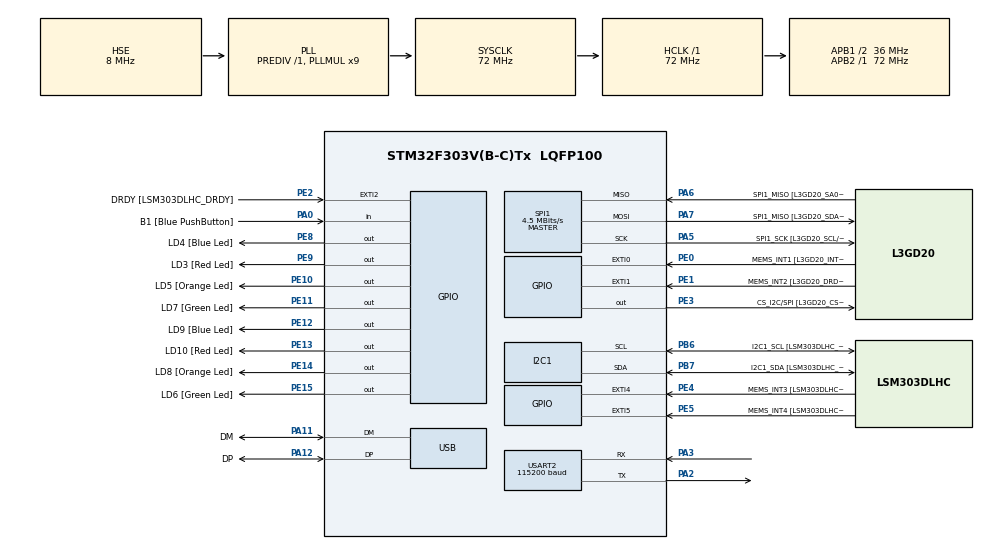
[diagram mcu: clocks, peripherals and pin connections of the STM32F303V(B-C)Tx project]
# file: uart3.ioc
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I2C1.Timing-I2C=0x2000090E
Mcu.Family=STM32F3
Mcu.Name=STM32F303V(B-C)Tx
Mcu.Package=LQFP100
NVIC.PriorityGroup=NVIC_PRIORITYGROUP_0
PA0.GPIO_Label=B1 [Blue PushButton]
PA0.Signal=GPIO_Input
PA11.GPIO_Label=DM
PA11.Mode=Device
PA11.Signal=USB_DM
PA12.GPIO_Label=DP
PA12.Mode=Device
PA12.Signal=USB_DP
PA13.GPIO_Label=SWDIO
PA13.Mode=Serial_Wire
PA13.Signal=SYS_JTMS-SWDIO
PA14.GPIO_Label=SWCLK
PA14.Mode=Serial_Wire
PA14.Signal=SYS_JTCK-SWCLK
PA2.Mode=Asynchronous
PA2.Signal=USART2_TX
PA3.Mode=Asynchronous
PA3.Signal=USART2_RX
PA5.GPIO_Label=SPI1_SCK [L3GD20_SCL/SPC]
PA5.Mode=Full_Duplex_Master
PA5.Signal=SPI1_SCK
PA6.GPIO_Label=SPI1_MISO [L3GD20_SA0/SDO]
PA6.Mode=Full_Duplex_Master
PA6.Signal=SPI1_MISO
PA7.GPIO_Label=SPI1_MISO [L3GD20_SDA/SDI/SDO]
PA7.Mode=Full_Duplex_Master
PA7.Signal=SPI1_MOSI
PB3.GPIO_Label=SWO
PB3.Signal=SYS_JTDO-TRACESWO
PB6.GPIO_Label=I2C1_SCL [LSM303DLHC_SCL]
PB6.GPIO_Pu=GPIO_PULLUP
PB6.Mode=I2C
PB6.Signal=I2C1_SCL
PB7.GPIO_Label=I2C1_SDA [LSM303DLHC_SDA]
PB7.GPIO_Pu=GPIO_PULLUP
PB7.Mode=I2C
PB7.Signal=I2C1_SDA
PC14-OSC32_IN.GPIO_Label=OSC32_IN
PC14-OSC32_IN.Signal=RCC_OSC32_IN
PC15-OSC32_OUT.GPIO_Label=OSC32_OUT
PC15-OSC32_OUT.Signal=RCC_OSC32_OUT
PE0.GPIO_Label=MEMS_INT1 [L3GD20_INT1]
PE0.GPIO_ModeDefaultEXTI=GPIO_MODE_EVT_RISING
PE0.Signal=GPXTI0
PE1.GPIO_Label=MEMS_INT2 [L3GD20_DRDY/INT2]
PE1.GPIO_ModeDefaultEXTI=GPIO_MODE_EVT_RISING
PE1.Signal=GPXTI1
PE10.GPIO_Label=LD5 [Orange Led]
PE10.Signal=GPIO_Output
PE11.GPIO_Label=LD7 [Green Led]
PE11.Signal=GPIO_Output
PE12.GPIO_Label=LD9 [Blue Led]
PE12.Signal=GPIO_Output
PE13.GPIO_Label=LD10 [Red Led]
PE13.Signal=GPIO_Output
PE14.GPIO_Label=LD8 [Orange Led]
PE14.Signal=GPIO_Output
PE15.GPIO_Label=LD6 [Green Led]
PE15.Signal=GPIO_Output
PE2.GPIO_Label=DRDY [LSM303DLHC_DRDY]
PE2.GPIO_ModeDefaultEXTI=GPIO_MODE_EVT_RISING
PE2.Signal=GPXTI2
PE3.GPIO_Label=CS_I2C/SPI [L3GD20_CS_I2C/SPI]
PE3.Signal=GPIO_Output
PE4.GPIO_Label=MEMS_INT3 [LSM303DLHC_INT1]
PE4.GPIO_ModeDefaultEXTI=GPIO_MODE_EVT_RISING
PE4.Signal=GPXTI4
PE5.GPIO_Label=MEMS_INT4 [LSM303DLHC_INT2]
PE5.GPIO_ModeDefaultEXTI=GPIO_MODE_EVT_RISING
PE5.Signal=GPXTI5
PE8.GPIO_Label=LD4 [Blue Led]
PE8.Signal=GPIO_Output
PE9.GPIO_Label=LD3 [Red Led]
PE9.Signal=GPIO_Output
PF0-OSC_IN.GPIO_Label=OSC_IN
PF0-OSC_IN.Mode=HSE-External-Oscillator
PF0-OSC_IN.Signal=RCC_OSC_IN
PF1-OSC_OUT.GPIO_Label=OSC_OUT
PF1-OSC_OUT.Mode=HSE-External-Oscillator
PF1-OSC_OUT.Signal=RCC_OSC_OUT
ProjectManager.HeapSize=0x200
ProjectManager.StackSize=0x400
ProjectManager.TargetToolchain=STM32CubeIDE
RCC.AHBFreq_Value=72000000
RCC.APB1CLKDivider=RCC_HCLK_DIV2
RCC.APB1Freq_Value=36000000
RCC.APB1TimFreq_Value=72000000
RCC.APB2Freq_Value=72000000
RCC.APB2TimFreq_Value=72000000
RCC.CortexFreq_Value=72000000
RCC.HCLKFreq_Value=72000000
RCC.HSE_VALUE=8000000
RCC.HSI_VALUE=8000000
RCC.LSE_VALUE=32768
RCC.PLLMUL=RCC_PLL_MUL9
RCC.PRESCALERUSB=RCC_USBCLKSOURCE_PLL_DIV1_5
RCC.SYSCLKFreq_VALUE=72000000
RCC.SYSCLKSourceVirtual=RCC_SYSCLKSOURCE_PLLCLK
RCC.USBFreq_Value=48000000
SPI1.BaudRatePrescaler=SPI_BAUDRATEPRESCALER_16
SPI1.BaudRatePrescaler-Full_Duplex_Master=SPI_BAUDRATEPRESCALER_2
SPI1.CalculateBaudRate=4.5 MBits/s
SPI1.CalculateBaudRate-Full_Duplex_Master=24.0 MBits/s
SPI1.DataSize=SPI_DATASIZE_8BIT
SPI1.Direction=SPI_DIRECTION_2LINES
SPI1.Mode=SPI_MODE_MASTER
SPI1.Mode-Full_Duplex_Master=SPI_MODE_MASTER
SPI1.VirtualType=VM_MASTER
USART2.BaudRate=115200
USART2.VirtualMode-Asynchronous=VM_ASYNC
board=STM32F3DISCOVERY

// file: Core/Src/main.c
/* USER CODE BEGIN Header */
/**
  ******************************************************************************
  * @file           : main.c
  * @brief          : Main program body
  ******************************************************************************
  * @attention
  *
  * Copyright (c) 2023 STMicroelectronics.
  * All rights reserved.
  *
  * This software is licensed under terms that can be found in the LICENSE file
  * in the root directory of this software component.
  * If no LICENSE file comes with this software, it is provided AS-IS.
  *
  ******************************************************************************
  */
/* USER CODE END Header */
#include "main.h"
#include "mems.h"
#include "stdio.h"
#include "string.h"

I2C_HandleTypeDef hi2c1;

SPI_HandleTypeDef hspi1;

UART_HandleTypeDef huart2;

PCD_HandleTypeDef hpcd_USB_FS;

/* USER CODE BEGIN PV */
//char str1[60] = {0};
int16_t AccelData[3];
int16_t MagData[3];
int16_t GyrData[3];
char str1[60]={0};

/* USER CODE END PV */

void SystemClock_Config(void);
static void MX_GPIO_Init(void);
static void MX_I2C1_Init(void);
static void MX_SPI1_Init(void);
static void MX_USART2_UART_Init(void);
static void MX_USB_PCD_Init(void);

int main(void)
{

  /* MCU Configuration--------------------------------------------------------*/

  /* Reset of all peripherals, Initializes the Flash interface and the Systick. */
  HAL_Init();

  /* Configure the system clock */
  SystemClock_Config();

  /* Initialize all configured peripherals */
  MX_GPIO_Init();
  MX_I2C1_Init();
  MX_SPI1_Init();
  MX_USART2_UART_Init();
  MX_USB_PCD_Init();
  /* USER CODE BEGIN 2 */

  Accel_Ini();
  Mag_Ini();
  Gyro_Ini();

  if (Gyro_ReadID()==0xD4)
  {
      HAL_GPIO_WritePin(GPIOE, GPIO_PIN_11, GPIO_PIN_SET);//green
  }
  else
  {
      HAL_GPIO_WritePin(GPIOE, GPIO_PIN_9, GPIO_PIN_SET);//red
  }

  /* USER CODE END 2 */

  /* Infinite loop */
  /* USER CODE BEGIN WHILE */

  //int i = 0;

  while (1)
  {
    /* USER CODE END WHILE */

    /* USER CODE BEGIN 3 */
    /*  HAL_GPIO_WritePin(GPIOE, GPIO_PIN_11, GPIO_PIN_SET); //green
      HAL_GPIO_WritePin(GPIOE, GPIO_PIN_14, GPIO_PIN_RESET); //orange
      HAL_Delay(500);
      HAL_GPIO_WritePin(GPIOE, GPIO_PIN_12, GPIO_PIN_RESET);
      HAL_GPIO_WritePin(GPIOE, GPIO_PIN_14, GPIO_PIN_SET);
      HAL_Delay(500);

      uint8_t Test[] = "Hello World !!!\r\n"; //Data to send
      HAL_UART_Transmit(&huart2,Test,sizeof(Test),10);// Sending in normal mode
      HAL_Delay(1000);

     */
    Accel_GetXYZ(AccelData);
    Mag_GetXYZ(MagData);
    Gyro_GetXYZ(GyrData);

    /*if (i % 1000 == 0)
    {
        //HAL_GPIO_WritePin(GPIOE, GPIO_PIN_14, GPIO_PIN_SET);
        HAL_GPIO_TogglePin(GPIOE, GPIO_PIN_14 );
    }

    i++;*/

    //HAL_GPIO_WritePin(GPIOE, GPIO_PIN_11, GPIO_PIN_SET);//green

     sprintf(str1,"$%06d %06d %06d;\n", AccelData[0], AccelData[1], AccelData[2]);
     //sprintf(str1,"$%06d;\n", AccelData[0]);
             //MagData[0], MagData[1], MagData[2], GyrData[0], GyrData[1], GyrData[2]);
     HAL_UART_Transmit(&huart2, (uint8_t*)str1, strlen(str1), 0x1000);

     //HAL_GPIO_WritePin(GPIOE, GPIO_PIN_11, GPIO_PIN_RESET);//green

     //HAL_GPIO_WritePin(GPIOE, GPIO_PIN_14, GPIO_PIN_SET);//orange
     HAL_Delay(5); //100 times per sec
     //HAL_GPIO_WritePin(GPIOE, GPIO_PIN_14, GPIO_PIN_RESET);//orange

     //uint8_t Test[] = "Hello World !!!\r\n"; //Data to send
     //HAL_UART_Transmit(&huart2,Test,sizeof(Test),10);// Sending in normal mode
     //HAL_Delay(1000);
  }
  /* USER CODE END 3 */
}

void SystemClock_Config(void)
{
  RCC_OscInitTypeDef RCC_OscInitStruct = {0};
  RCC_ClkInitTypeDef RCC_ClkInitStruct = {0};
  RCC_PeriphCLKInitTypeDef PeriphClkInit = {0};

  /** Initializes the RCC Oscillators according to the specified parameters
  * in the RCC_OscInitTypeDef structure.
  */
  RCC_OscInitStruct.OscillatorType = RCC_OSCILLATORTYPE_HSI|RCC_OSCILLATORTYPE_HSE;
  RCC_OscInitStruct.HSEState = RCC_HSE_ON;
  RCC_OscInitStruct.HSEPredivValue = RCC_HSE_PREDIV_DIV1;
  RCC_OscInitStruct.HSIState = RCC_HSI_ON;
  RCC_OscInitStruct.HSICalibrationValue = RCC_HSICALIBRATION_DEFAULT;
  RCC_OscInitStruct.PLL.PLLState = RCC_PLL_ON;
  RCC_OscInitStruct.PLL.PLLSource = RCC_PLLSOURCE_HSE;
  RCC_OscInitStruct.PLL.PLLMUL = RCC_PLL_MUL9;
  if (HAL_RCC_OscConfig(&RCC_OscInitStruct) != HAL_OK)
  {
    Error_Handler();
  }

  /** Initializes the CPU, AHB and APB buses clocks
  */
  RCC_ClkInitStruct.ClockType = RCC_CLOCKTYPE_HCLK|RCC_CLOCKTYPE_SYSCLK
                              |RCC_CLOCKTYPE_PCLK1|RCC_CLOCKTYPE_PCLK2;
  RCC_ClkInitStruct.SYSCLKSource = RCC_SYSCLKSOURCE_PLLCLK;
  RCC_ClkInitStruct.AHBCLKDivider = RCC_SYSCLK_DIV1;
  RCC_ClkInitStruct.APB1CLKDivider = RCC_HCLK_DIV2;
  RCC_ClkInitStruct.APB2CLKDivider = RCC_HCLK_DIV1;

  if (HAL_RCC_ClockConfig(&RCC_ClkInitStruct, FLASH_LATENCY_2) != HAL_OK)
  {
    Error_Handler();
  }
  PeriphClkInit.PeriphClockSelection = RCC_PERIPHCLK_USB|RCC_PERIPHCLK_USART2
                              |RCC_PERIPHCLK_I2C1;
  PeriphClkInit.Usart2ClockSelection = RCC_USART2CLKSOURCE_PCLK1;
  PeriphClkInit.I2c1ClockSelection = RCC_I2C1CLKSOURCE_HSI;
  PeriphClkInit.USBClockSelection = RCC_USBCLKSOURCE_PLL_DIV1_5;
  if (HAL_RCCEx_PeriphCLKConfig(&PeriphClkInit) != HAL_OK)
  {
    Error_Handler();
  }
}

static void MX_I2C1_Init(void)
{

  hi2c1.Instance = I2C1;
  hi2c1.Init.Timing = 0x2000090E;
  hi2c1.Init.OwnAddress1 = 0;
  hi2c1.Init.AddressingMode = I2C_ADDRESSINGMODE_7BIT;
  hi2c1.Init.DualAddressMode = I2C_DUALADDRESS_DISABLE;
  hi2c1.Init.OwnAddress2 = 0;
  hi2c1.Init.OwnAddress2Masks = I2C_OA2_NOMASK;
  hi2c1.Init.GeneralCallMode = I2C_GENERALCALL_DISABLE;
  hi2c1.Init.NoStretchMode = I2C_NOSTRETCH_DISABLE;
  if (HAL_I2C_Init(&hi2c1) != HAL_OK)
  {
    Error_Handler();
  }

  /** Configure Analogue filter
  */
  if (HAL_I2CEx_ConfigAnalogFilter(&hi2c1, I2C_ANALOGFILTER_ENABLE) != HAL_OK)
  {
    Error_Handler();
  }

  /** Configure Digital filter
  */
  if (HAL_I2CEx_ConfigDigitalFilter(&hi2c1, 0) != HAL_OK)
  {
    Error_Handler();
  }

}

static void MX_SPI1_Init(void)
{

  /* SPI1 parameter configuration*/
  hspi1.Instance = SPI1;
  hspi1.Init.Mode = SPI_MODE_MASTER;
  hspi1.Init.Direction = SPI_DIRECTION_2LINES;
  hspi1.Init.DataSize = SPI_DATASIZE_8BIT;
  hspi1.Init.CLKPolarity = SPI_POLARITY_LOW;
  hspi1.Init.CLKPhase = SPI_PHASE_1EDGE;
  hspi1.Init.NSS = SPI_NSS_SOFT;
  hspi1.Init.BaudRatePrescaler = SPI_BAUDRATEPRESCALER_16;
  hspi1.Init.FirstBit = SPI_FIRSTBIT_MSB;
  hspi1.Init.TIMode = SPI_TIMODE_DISABLE;
  hspi1.Init.CRCCalculation = SPI_CRCCALCULATION_DISABLE;
  hspi1.Init.CRCPolynomial = 7;
  hspi1.Init.CRCLength = SPI_CRC_LENGTH_DATASIZE;
  hspi1.Init.NSSPMode = SPI_NSS_PULSE_ENABLE;
  if (HAL_SPI_Init(&hspi1) != HAL_OK)
  {
    Error_Handler();
  }

}

static void MX_USART2_UART_Init(void)
{

  huart2.Instance = USART2;
  huart2.Init.BaudRate = 115200;
  huart2.Init.WordLength = UART_WORDLENGTH_8B;
  huart2.Init.StopBits = UART_STOPBITS_1;
  huart2.Init.Parity = UART_PARITY_NONE;
  huart2.Init.Mode = UART_MODE_TX_RX;
  huart2.Init.HwFlowCtl = UART_HWCONTROL_NONE;
  huart2.Init.OverSampling = UART_OVERSAMPLING_16;
  huart2.Init.OneBitSampling = UART_ONE_BIT_SAMPLE_DISABLE;
  huart2.AdvancedInit.AdvFeatureInit = UART_ADVFEATURE_NO_INIT;
  if (HAL_UART_Init(&huart2) != HAL_OK)
  {
    Error_Handler();
  }

}

static void MX_USB_PCD_Init(void)
{

  hpcd_USB_FS.Instance = USB;
  hpcd_USB_FS.Init.dev_endpoints = 8;
  hpcd_USB_FS.Init.speed = PCD_SPEED_FULL;
  hpcd_USB_FS.Init.phy_itface = PCD_PHY_EMBEDDED;
  hpcd_USB_FS.Init.low_power_enable = DISABLE;
  hpcd_USB_FS.Init.battery_charging_enable = DISABLE;
  if (HAL_PCD_Init(&hpcd_USB_FS) != HAL_OK)
  {
    Error_Handler();
  }

}

static void MX_GPIO_Init(void)
{
  GPIO_InitTypeDef GPIO_InitStruct = {0};

  /* GPIO Ports Clock Enable */
  __HAL_RCC_GPIOE_CLK_ENABLE();
  __HAL_RCC_GPIOC_CLK_ENABLE();
  __HAL_RCC_GPIOF_CLK_ENABLE();
  __HAL_RCC_GPIOA_CLK_ENABLE();
  __HAL_RCC_GPIOB_CLK_ENABLE();

  /*Configure GPIO pin Output Level */
  HAL_GPIO_WritePin(GPIOE, CS_I2C_SPI_Pin|LD4_Pin|LD3_Pin|LD5_Pin
                          |LD7_Pin|LD9_Pin|LD10_Pin|LD8_Pin
                          |LD6_Pin, GPIO_PIN_RESET);

  /*Configure GPIO pins : DRDY_Pin MEMS_INT3_Pin MEMS_INT4_Pin MEMS_INT1_Pin
                           MEMS_INT2_Pin */
  GPIO_InitStruct.Pin = DRDY_Pin|MEMS_INT3_Pin|MEMS_INT4_Pin|MEMS_INT1_Pin
                          |MEMS_INT2_Pin;
  GPIO_InitStruct.Mode = GPIO_MODE_EVT_RISING;
  GPIO_InitStruct.Pull = GPIO_NOPULL;
  HAL_GPIO_Init(GPIOE, &GPIO_InitStruct);

  /*Configure GPIO pins : CS_I2C_SPI_Pin LD4_Pin LD3_Pin LD5_Pin
                           LD7_Pin LD9_Pin LD10_Pin LD8_Pin
                           LD6_Pin */
  GPIO_InitStruct.Pin = CS_I2C_SPI_Pin|LD4_Pin|LD3_Pin|LD5_Pin
                          |LD7_Pin|LD9_Pin|LD10_Pin|LD8_Pin
                          |LD6_Pin;
  GPIO_InitStruct.Mode = GPIO_MODE_OUTPUT_PP;
  GPIO_InitStruct.Pull = GPIO_NOPULL;
  GPIO_InitStruct.Speed = GPIO_SPEED_FREQ_LOW;
  HAL_GPIO_Init(GPIOE, &GPIO_InitStruct);

  /*Configure GPIO pin : B1_Pin */
  GPIO_InitStruct.Pin = B1_Pin;
  GPIO_InitStruct.Mode = GPIO_MODE_INPUT;
  GPIO_InitStruct.Pull = GPIO_NOPULL;
  HAL_GPIO_Init(B1_GPIO_Port, &GPIO_InitStruct);

}

void Error_Handler(void)
{
  __disable_irq();
  while (1)
  {
  }
}
